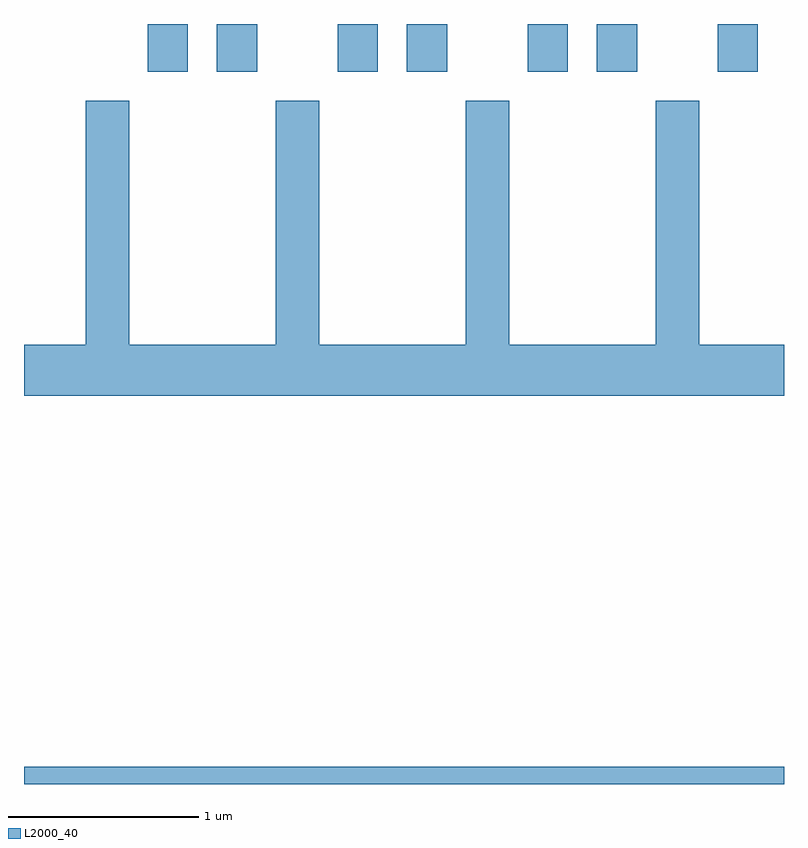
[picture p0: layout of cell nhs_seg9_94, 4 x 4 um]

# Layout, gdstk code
import gdstk
lib = gdstk.Library(unit=1e-6, precision=1e-09)
def R(c, l, rs):  # rectangles x0, y0, x1, y1
    for r in rs: c.add(gdstk.rectangle(r[:2], r[2:], *l))
def P(c, l, *ps):  # polygons
    for p in ps: c.add(gdstk.Polygon(p, *l))
L2000_40 = (2000, 40)

nhs_seg9_94 = lib.new_cell('nhs_seg9_94')
R(nhs_seg9_94, L2000_40, [(187.611,1996.432,191.611,1996.524), (188.261,2000.181,188.474,2000.432), (188.626,2000.181,188.839,2000.432), (189.261,2000.181,189.474,2000.432), (189.626,2000.181,189.839,2000.432), (190.261,2000.181,190.474,2000.432), (190.626,2000.181,190.839,2000.432), (191.261,2000.181,191.474,2000.432)])
P(nhs_seg9_94, L2000_40, [(191.611,1998.744),(191.164,1998.744),(191.164,2000.029),(190.936,2000.029),(190.936,1998.744),(190.164,1998.744),(190.164,2000.029),(189.936,2000.029),(189.936,1998.744),(189.164,1998.744),(189.164,2000.029),(188.936,2000.029),(188.936,1998.744),(188.164,1998.744),(188.164,2000.029),(187.936,2000.029),(187.936,1998.744),(187.611,1998.744),(187.611,1998.476),(191.611,1998.476)])

lib.write_gds('nhs_seg9_94.gds')
